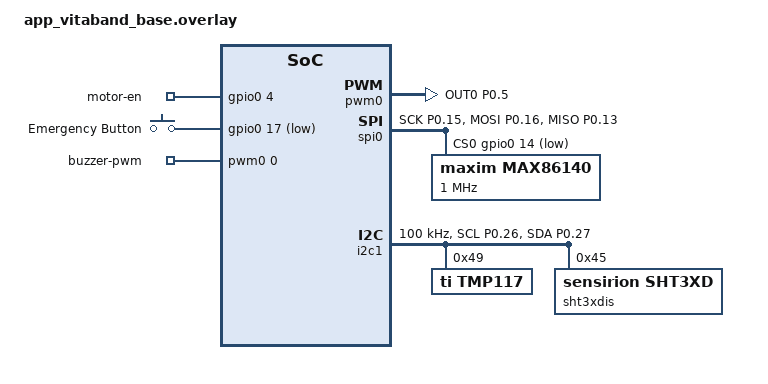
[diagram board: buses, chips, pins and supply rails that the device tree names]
/*
 * VitaBand PCB — **full application base** (default main.c):
 *   MAX86140 on SPIM0 + TMP117 + SHT3x-DIS on **TWIM1** (P0.26 SCL, P0.27 SDA).
 * TWIM0 shares the SPIM0 peripheral — keep i2c0 disabled when SPI0 is used.
 *
 * **nRF52840 DK:** do **not** use this file — SPI/I2C pinmux is for the VitaBand board. Use
 * **app_main_full_dk.overlay** with prj_full_vitaband.conf (SPI3 + I2C0 on Arduino headers).
 *
 * SHT3x I²C address **0x45** (ADDR pin → VDD). Use **0x44** if ADDR is tied to GND
 * (change reg = <0x44> on the sht3xdis node).
 *
 * MOTOR_EN on **P0.04** (haptics.c DT_ALIAS(motor_en)). nRF52840 DK on-board LEDs use
 * P0.13–P0.16 — no GPIO clash with P0.04.
 *
 * Console: Segger RTT only (`rtt0`), match prj_full_vitaband.conf / prj_vitaband_sensors.conf
 * (CONFIG_RTT_CONSOLE=y, CONFIG_UART_CONSOLE=n, CONFIG_SERIAL=n). Logs use the **same J-Link USB**
 * as flash/debug; unplugging that USB stops **new** bytes from reaching the PC (scrollback may look
 * like output continues). Physical uart0 disabled — not the DK virtual COM port unless you rebuild
 * with UART console + uart0 enabled.
 *
 * Example:
 *   west build -b nrf52840dk/nrf52840 firmware -- \
 *     -DEXTRA_CONF_FILE=prj_vitaband_sensors.conf \
 *     -DDTC_OVERLAY_FILE=app_vitaband_base.overlay
 */

#include <zephyr/dt-bindings/gpio/gpio.h>
#include <zephyr/dt-bindings/pinctrl/nrf-pinctrl.h>
#include <zephyr/dt-bindings/spi/spi.h>

/ {
	chosen {
		zephyr,console = &rtt0;
		zephyr,bt-mon-uart = &rtt0;
		zephyr,bt-c2h-uart = &rtt0;
		/delete-property/ zephyr,shell-uart;
		/delete-property/ zephyr,uart-mcumgr;
	};

	/* Segger RTT as a UART device — printk/LOG go here when CONFIG_UART_CONSOLE=y + SERIAL=y */
	rtt0: rtt_chan0 {
		compatible = "segger,rtt-uart";
		status = "okay";
	};

	/*
	 * nrf52840dk merges gpio-leds on P0.13–P0.16 — same pins as SPIM0 + CS for MAX86140.
	 * Remap every led_* to harmless pins (same pattern as app_ble_hr_body_vitaband.overlay).
	 * led_2 must leave P0.14 (SPI CS): ble-hr-body maps led_2 → P0.04; we use P0.04 for motor-en,
	 * so park led_2 on P0.28 (assume NC on VitaBand PCB — adjust if your layout uses it).
	 */
	leds {
		status = "disabled";
		led0: led_0 { status = "disabled"; gpios = <&gpio0 2 GPIO_ACTIVE_LOW>; };
		led1: led_1 { status = "disabled"; gpios = <&gpio0 3 GPIO_ACTIVE_LOW>; };
		led2: led_2 { status = "disabled"; gpios = <&gpio0 28 GPIO_ACTIVE_LOW>; };
		led3: led_3 { status = "disabled"; gpios = <&gpio0 7 GPIO_ACTIVE_LOW>; };
	};

	pwmleds {
		status = "disabled";
		pwm_led0: pwm_led_0 { status = "disabled"; };
	};

	aliases {
		emergency-button = &emergency_button;
		buzzer = &pwm_buzzer_led;
		motor-en = &motor_en_line;
	};

	/* gpio-leds: compatible expected by Zephyr; P0.04 = MOTOR_EN (same as main_blinky) */
	motor_gpios {
		compatible = "gpio-leds";
		motor_en_line: motor_en_line {
			gpios = <&gpio0 4 GPIO_ACTIVE_HIGH>;
			label = "motor-en";
		};
	};

	buttons {
		compatible = "gpio-keys";
		emergency_button: emergency_button {
			gpios = <&gpio0 17 (GPIO_PULL_UP | GPIO_ACTIVE_LOW)>;
			label = "Emergency Button";
		};
	};

	pwm_buzzer_group {
		compatible = "pwm-leds";
		pwm_buzzer_led: pwm_buzzer_led {
			pwms = <&pwm0 0 250000 PWM_POLARITY_NORMAL>;
			label = "buzzer-pwm";
		};
	};
};

&uart0 {
	status = "disabled";
};

&adc {
	status = "disabled";
};

&i2c0 {
	status = "disabled";
};

&spi1 {
	status = "disabled";
};

&spi2 {
	status = "disabled";
};

&spi3 {
	status = "disabled";
};

&pinctrl {
	spi0_max86140_vb: spi0_max86140_vb {
		group1 {
			psels = <NRF_PSEL(SPIM_SCK, 0, 15)>,
				<NRF_PSEL(SPIM_MOSI, 0, 16)>;
			nordic,drive-mode = <NRF_DRIVE_H0H1>;
		};
		group2 {
			psels = <NRF_PSEL(SPIM_MISO, 0, 13)>;
		};
	};

	spi0_max86140_vb_sleep: spi0_max86140_vb_sleep {
		group1 {
			psels = <NRF_PSEL(SPIM_SCK, 0, 15)>,
				<NRF_PSEL(SPIM_MOSI, 0, 16)>;
			low-power-enable;
		};
		group2 {
			psels = <NRF_PSEL(SPIM_MISO, 0, 13)>;
			low-power-enable;
		};
	};

	i2c1_vb: i2c1_vb {
		group1 {
			psels = <NRF_PSEL(TWIM_SCL, 0, 26)>,
				<NRF_PSEL(TWIM_SDA, 0, 27)>;
			bias-pull-up;
		};
	};

	i2c1_vb_sleep: i2c1_vb_sleep {
		group1 {
			psels = <NRF_PSEL(TWIM_SCL, 0, 26)>,
				<NRF_PSEL(TWIM_SDA, 0, 27)>;
			low-power-enable;
		};
	};

	pwm0_buzzer_vb: pwm0_buzzer_vb {
		group1 {
			psels = <NRF_PSEL(PWM_OUT0, 0, 5)>;
			nordic,drive-mode = <NRF_DRIVE_H0H1>;
		};
	};

	pwm0_buzzer_vb_sleep: pwm0_buzzer_vb_sleep {
		group1 {
			psels = <NRF_PSEL(PWM_OUT0, 0, 5)>;
			low-power-enable;
		};
	};
};

&pwm0 {
	status = "okay";
	pinctrl-0 = <&pwm0_buzzer_vb>;
	pinctrl-1 = <&pwm0_buzzer_vb_sleep>;
	pinctrl-names = "default", "sleep";
};

&spi0 {
	compatible = "nordic,nrf-spim";
	status = "okay";
	pinctrl-0 = <&spi0_max86140_vb>;
	pinctrl-1 = <&spi0_max86140_vb_sleep>;
	pinctrl-names = "default", "sleep";
	cs-gpios = <&gpio0 14 GPIO_ACTIVE_LOW>;

	max86140: maxim_max86140@0 {
		compatible = "maxim,max86140";
		reg = <0>;
		spi-max-frequency = <1000000>;
		frame-format = <SPI_FRAME_FORMAT_MOTOROLA>;
	};
};

&i2c1 {
	status = "okay";
	compatible = "nordic,nrf-twim";
	pinctrl-0 = <&i2c1_vb>;
	pinctrl-1 = <&i2c1_vb_sleep>;
	pinctrl-names = "default", "sleep";
	clock-frequency = <100000>;

	tmp117: tmp117@49 {
		compatible = "ti,tmp117";
		reg = <0x49>;
		status = "okay";
	};

	sht3xdis: sht3xdis@45 {
		compatible = "sensirion,sht3xd";
		reg = <0x45>;
		status = "okay";
	};
};
